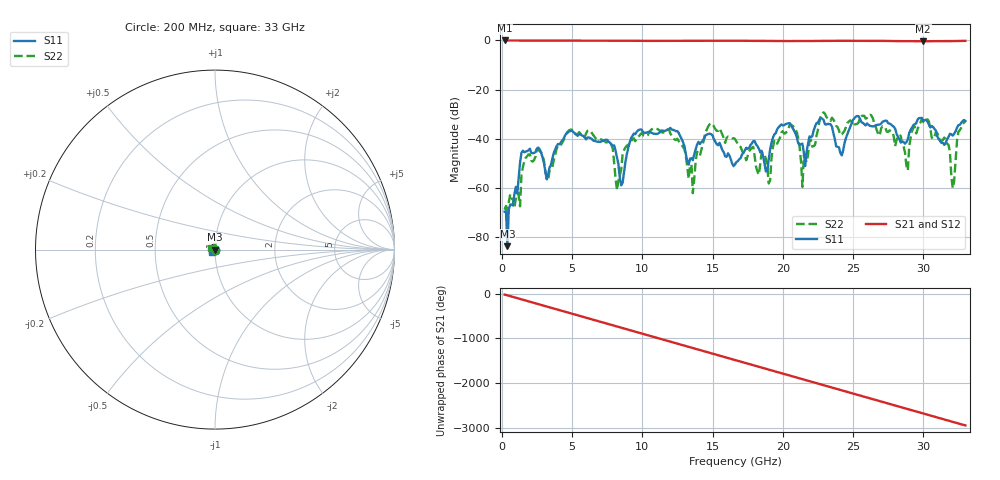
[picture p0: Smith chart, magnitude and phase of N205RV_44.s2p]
# GHZ S RI R 50
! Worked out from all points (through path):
!   329 points, 200 MHz to 33 GHz, reference 50 ohm
!   highest |S21| = -0.02 dB at 200 MHz (marker M1); lowest = -0.4 dB at 30 GHz (marker M2)
!   group delay of S21, straight-line fit = 248 ps
!   lowest |S11| = -83.6 dB at 400 MHz (marker M3), VSWR 1.00, Z = 50 + j0.000418 ohm
!   |S11| at or under -10 dB: start of sweep to end of sweep
!   |S22| runs from -70.9 to -29.2 dB; largest |S21 - S12| = 0.0019
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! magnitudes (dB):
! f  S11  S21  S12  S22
! 200 MHz  -69.6  0.0  0.0  -68.8
! 400 MHz  -83.6  0.0  0.0  -70.9
! 1.5 GHz  -44.8  -0.1  -0.1  -51.5
! 3.2 GHz  -56.5  -0.1  -0.1  -55.6
! 5.7 GHz  -38.6  -0.1  -0.1  -38.5
! 7.8 GHz  -42.3  -0.1  -0.1  -42.4
! 8.2 GHz  -47.6  -0.1  -0.1  -60.9
! 11.2 GHz  -37.5  -0.2  -0.2  -36.5
! 13.6 GHz  -48.7  -0.1  -0.1  -62.1
! 14.8 GHz  -37.9  -0.1  -0.1  -34.1
! 16.6 GHz  -50.4  -0.1  -0.1  -40.1
! 19 GHz  -48.4  -0.2  -0.2  -58.2
! 20.6 GHz  -34.7  -0.3  -0.3  -34.3
! 21.4 GHz  -42.0  -0.2  -0.2  -59.6
! 22.1 GHz  -39.0  -0.2  -0.2  -43.2
! 22.9 GHz  -32.2  -0.2  -0.2  -29.2
! 27.6 GHz  -33.8  -0.2  -0.2  -36.6
! 28.9 GHz  -40.2  -0.3  -0.3  -52.9
! 30 GHz  -32.7  -0.4  -0.4  -33.2
! 31.8 GHz  -39.2  -0.3  -0.3  -42.4
! 32.1 GHz  -38.7  -0.3  -0.3  -60.0
! 33 GHz  -32.8  -0.2  -0.2  -32.9
